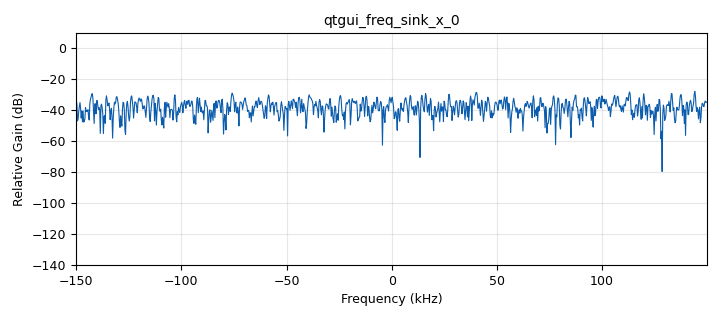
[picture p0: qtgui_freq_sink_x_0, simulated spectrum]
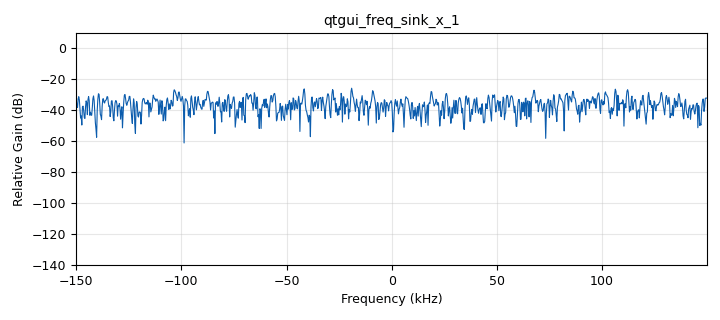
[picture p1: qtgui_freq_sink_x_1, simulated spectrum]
options:
  parameters:
    author: sten
    generate_options: qt_gui
    id: Labo_9
    output_language: python
    title: Oefening 3
  states: {}

blocks:
- name: PSK
  id: variable_constellation
  parameters:
    precision: '8'
    type: qpsk
  states: {}
- name: cma
  id: variable_adaptive_algorithm
  parameters:
    cons: PSK
    modulus: '2'
    step_size: '.0001'
    type: cma
  states: {}
- name: lowpass
  id: variable_qtgui_range
  parameters:
    start: '0'
    step: '1'
    stop: samp_rate / 2
    value: samp_rate / 2
  states: {}
- name: samp_rate
  id: variable
  parameters:
    value: 300e3
  states: {}
- name: analog_noise_source_x_0
  id: analog_noise_source_x
  parameters:
    amp: '1'
    noise_type: analog.GR_GAUSSIAN
    seed: '0'
    type: complex
  states: {}
- name: blocks_throttle2_0
  id: blocks_throttle2
  parameters:
    samples_per_second: samp_rate
    type: complex
  states: {}
- name: digital_linear_equalizer_0
  id: digital_linear_equalizer
  parameters:
    alg: cma
    num_taps: '15'
    sps: '2'
  states: {}
- name: low_pass_filter_0
  id: low_pass_filter
  parameters:
    cutoff_freq: lowpass
    decim: '1'
    gain: '1'
    samp_rate: samp_rate
    type: fir_filter_ccf
    width: samp_rate / 4
    win: window.WIN_HAMMING
  states: {}
- name: qtgui_freq_sink_x_0
  id: qtgui_freq_sink_x
  parameters:
    bw: samp_rate
    fc: '0'
    fftsize: '1024'
    gui_hint: (0,0)
    type: complex
  states: {}
- name: qtgui_freq_sink_x_1
  id: qtgui_freq_sink_x
  parameters:
    bw: samp_rate
    fc: '0'
    fftsize: '1024'
    gui_hint: (1,0)
    type: complex
  states: {}

connections:
- [analog_noise_source_x_0, '0', blocks_throttle2_0, '0']
- [blocks_throttle2_0, '0', low_pass_filter_0, '0']
- [digital_linear_equalizer_0, '0', qtgui_freq_sink_x_1, '0']
- [low_pass_filter_0, '0', digital_linear_equalizer_0, '0']
- [low_pass_filter_0, '0', qtgui_freq_sink_x_0, '0']

metadata:
  file_format: 1
  grc_version: 3.10.7.0
